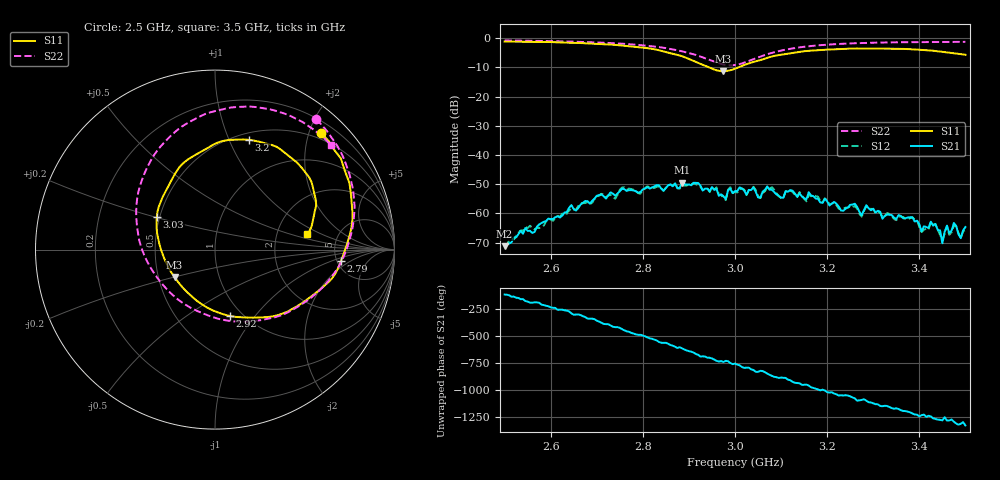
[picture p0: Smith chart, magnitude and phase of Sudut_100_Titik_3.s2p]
# Hz S RI R 50
! CMT, C1220, 16058040, 17.2.0/1
! Date: 15/08/2018 10:40:53
! Data: Format (Calibration Info)
! Freq  S11: Re/Im (F2)  S21: Re/Im (F2)  S12: Re/Im (F2)  S22: Re/Im (F2)
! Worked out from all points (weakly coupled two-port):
!   201 points, 2.5 GHz to 3.5 GHz, reference 50 ohm
!   highest |S21| = -49.50 dB at 2.885 GHz (marker M1); lowest = -71.2 dB at 2.5 GHz (marker M2)
!   lowest |S11| = -11.3 dB at 2.975 GHz (marker M3), VSWR 1.75, Z = 30.4 - j10 ohm
!   |S11| at or under -10 dB: 2.944 GHz to 3.007 GHz (62.53 MHz wide, 2.1 % of centre)
!   |S22| runs from -9.2 to -0.7 dB; largest |S21 - S12| = 0.0003
!   S11 on the Smith chart (normalised r, x): 2.5 GHz: 0.39, +2.21; 2.79 GHz: 5.40, -1.40; 2.92 GHz: 0.88, -0.76; 3.03 GHz: 0.48, +0.20; 3.2 GHz: 0.57, +1.19; 3.5 GHz: 3.00, +0.70
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2.5e9  0.5926 0.6494  -0.000102 -0.000255  -9.82e-05 -0.000281  0.564 0.7254
2.67e9  0.7533 0.3405  0.00105 0.00111  0.00109 0.00102  0.7386 0.452
2.79e9  0.7019 -0.0651  -0.00133 -0.00182  -0.00142 -0.00171  0.7632 0.1068
2.835e9  0.5829 -0.2241  -0.00295 0.000668  -0.00284 0.000577  0.7045 -0.0665
2.885e9  0.3259 -0.3714  -0.00104 0.00318  -0.000959 0.00301  0.537 -0.267
2.92e9  0.0837 -0.3703  0.00219 0.0025  0.00197 0.00239  0.3335 -0.377
2.975e9  -0.2254 -0.1532  0.00187 -0.000626  0.00178 -0.000551  -0.1004 -0.3413
3e9  -0.3009 4.29e-05  0.00201 -0.00133  0.00188 -0.00138  -0.2775 -0.2106
3.03e9  -0.3243 0.1818  0.000793 -0.0024  0.000818 -0.00237  -0.4099 0.00925
3.17e9  0.0911 0.6117  -0.000323 0.00194  -0.000508 0.00199  -0.0882 0.74
3.2e9  0.1898 0.6113  0.000785 0.0014  0.000878 0.00145  0.0211 0.7766
3.275e9  0.3795 0.547  0.000915 -0.000187  0.000859 -0.000197  0.2516 0.7909
3.335e9  0.4914 0.4451  0.000206 -0.000926  0.000127 -0.000972  0.3931 0.7556
3.385e9  0.5446 0.3507  -0.000628 -0.000583  -0.000619 -0.000591  0.489 0.7102
3.405e9  0.5563 0.3002  -0.000437 -0.000219  -0.000449 -0.000172  0.5201 0.6886
3.435e9  0.5604 0.2313  -0.000652 9.81e-05  -0.00064 0.000118  0.5645 0.6566
3.45e9  0.5529 0.1976  -0.000285 0.000116  -0.000343 8.93e-05  0.5864 0.6397
3.46e9  0.5477 0.171  -0.000567 0.00024  -0.00056 0.000234  0.5991 0.6296
3.465e9  0.545 0.1574  -0.000428 0.000176  -0.000391 0.000176  0.6049 0.6241
3.475e9  0.5391 0.1333  -0.000567 0.000384  -0.000468 0.000396  0.6169 0.6122
3.49e9  0.5258 0.1036  -0.000225 0.000301  -0.000166 0.000338  0.6347 0.5937
3.5e9  0.5152 0.0853  -0.000211 0.000544  -0.000131 0.000494  0.6457 0.5827
